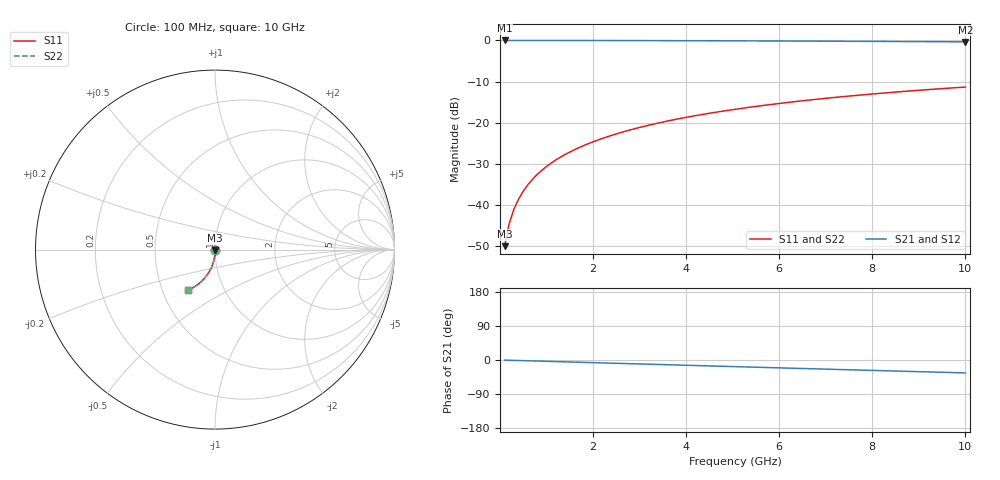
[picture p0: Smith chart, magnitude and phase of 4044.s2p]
# Hz S RI R 50.00
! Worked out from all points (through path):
!   100 points, 100 MHz to 10 GHz, reference 50 ohm
!   highest |S21| = -0.01 dB at 100 MHz (marker M1); lowest = -0.4 dB at 10 GHz (marker M2)
!   group delay of S21, straight-line fit = 9.47 ps
!   lowest |S11| = -50.0 dB at 100 MHz (marker M3), VSWR 1.01, Z = 50.1 - j0.296 ohm
!   |S11| at or under -10 dB: start of sweep to end of sweep
!   |S22| runs from -50.0 to -11.3 dB; largest |S21 - S12| = 0
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1e8  0.00118 -0.00295  0.9988 -0.00607  0.9988 -0.00607  0.00118 -0.00295
2e8  0.00113 -0.00591  0.9987 -0.0121  0.9987 -0.0121  0.00113 -0.00591
3e8  0.00104 -0.00886  0.9986 -0.0182  0.9986 -0.0182  0.00104 -0.00886
4e8  0.000914 -0.0118  0.9984 -0.0243  0.9984 -0.0243  0.000914 -0.0118
5e8  0.000752 -0.0148  0.9982 -0.0304  0.9982 -0.0304  0.000752 -0.0148
6e8  0.000555 -0.0177  0.9979 -0.0364  0.9979 -0.0364  0.000555 -0.0177
7e8  0.000321 -0.0207  0.9976 -0.0425  0.9976 -0.0425  0.000321 -0.0207
8e8  5.1e-05 -0.0236  0.9973 -0.0485  0.9973 -0.0485  5.1e-05 -0.0236
9e8  -0.000255 -0.0265  0.9969 -0.0546  0.9969 -0.0546  -0.000255 -0.0265
1.1e9  -0.000973 -0.0324  0.996 -0.0667  0.996 -0.0667  -0.000973 -0.0324
1.4e9  -0.00232 -0.0411  0.9942 -0.0848  0.9942 -0.0848  -0.00232 -0.0411
1.8e9  -0.0046 -0.0527  0.9913 -0.1088  0.9913 -0.1088  -0.0046 -0.0527
2.1e9  -0.00668 -0.0613  0.9886 -0.1268  0.9886 -0.1268  -0.00668 -0.0613
2.5e9  -0.00993 -0.0726  0.9845 -0.1506  0.9845 -0.1506  -0.00993 -0.0726
2.9e9  -0.0137 -0.0838  0.9796 -0.1742  0.9796 -0.1742  -0.0137 -0.0838
3.4e9  -0.0192 -0.0974  0.9726 -0.2034  0.9726 -0.2034  -0.0192 -0.0974
4.2e9  -0.0296 -0.1183  0.9591 -0.2493  0.9591 -0.2493  -0.0296 -0.1183
5.1e9  -0.0436 -0.1405  0.941 -0.2996  0.941 -0.2996  -0.0436 -0.1405
5.9e9  -0.0578 -0.1587  0.9224 -0.3428  0.9224 -0.3428  -0.0578 -0.1587
6.7e9  -0.0736 -0.1754  0.9015 -0.3845  0.9015 -0.3845  -0.0736 -0.1754
8.4e9  -0.1115 -0.2052  0.8506 -0.4673  0.8506 -0.4673  -0.1115 -0.2052
1e10  -0.1512 -0.2256  0.7959 -0.5377  0.7959 -0.5377  -0.1512 -0.2256
